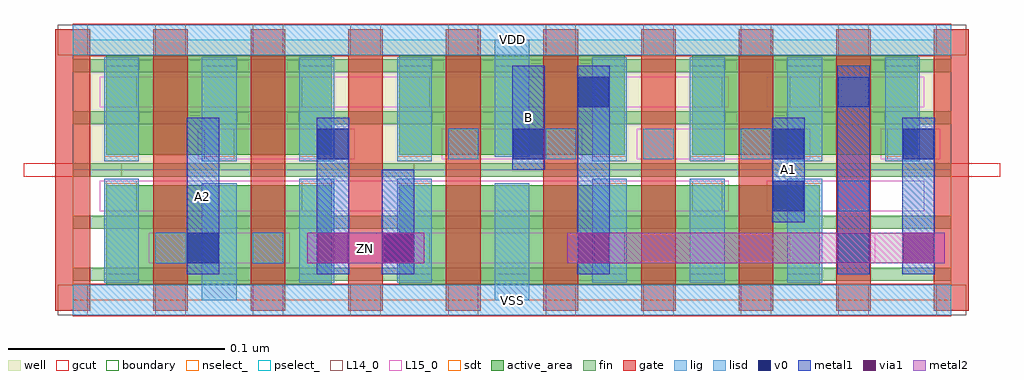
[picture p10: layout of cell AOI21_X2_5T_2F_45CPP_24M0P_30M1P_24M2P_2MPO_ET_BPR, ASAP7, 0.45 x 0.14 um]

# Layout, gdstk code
import gdstk
lib = gdstk.Library(unit=1e-6, precision=2.5e-10)
def R(c, l, rs):  # rectangles x0, y0, x1, y1
    for r in rs: c.add(gdstk.rectangle(r[:2], r[2:], *l))
def A(c, l, x, y, w, h, nx, ny, dx, dy):  # array of equal rectangles
    R(c, l, [(x+i*dx, y+j*dy, x+i*dx+w, y+j*dy+h) for i in range(nx) for j in range(ny)])
well = (1, 0)
fin = (2, 0)
gate = (7, 0)
gcut = (10, 0)
active_area = (11, 0)
nselect_ = (12, 0)
pselect_ = (13, 0)
L14_0 = (14, 0)
L15_0 = (15, 0)
lig = (16, 0)
lisd = (17, 0)
v0 = (18, 0)
metal1 = (19, 0)
metal2 = (20, 0)
via1 = (21, 0)
sdt = (88, 0)
boundary = (100, 0)

aoi21_x2_5t_2f_45cpp_24m = lib.new_cell('AOI21_X2_5T_2F_45CPP_24M0P_30M1P_24M2P_2MPO_ET_BPR')
R(aoi21_x2_5t_2f_45cpp_24m, well, [(0,0.06,0.405,0.12)])
A(aoi21_x2_5t_2f_45cpp_24m, fin, 0, 0.009, 0.405, 0.006, 1, 5, 0, 0.024)
A(aoi21_x2_5t_2f_45cpp_24m, gate, -0.008, -0.005, 0.016, 0.13, 10, 1, 0.045, 0)
R(aoi21_x2_5t_2f_45cpp_24m, gcut, [(0,-0.0075,0.405,0.0075), (-0.0225,0.057,0.0225,0.063), (0.1125,0.057,0.1575,0.063), (0.3825,0.057,0.4275,0.063), (0,0.1125,0.405,0.1275)])
A(aoi21_x2_5t_2f_45cpp_24m, active_area, 0.0155, 0.067, 0.104, 0.046, 3, 1, 0.135, 0)
R(aoi21_x2_5t_2f_45cpp_24m, active_area, [(0.0155,0.007,0.1195,0.053), (0.1505,0.007,0.2545,0.053), (0.2405,0.007,0.3445,0.053)])
R(aoi21_x2_5t_2f_45cpp_24m, nselect_, [(0,0,0.405,0.06)])
R(aoi21_x2_5t_2f_45cpp_24m, pselect_, [(0,0.06,0.405,0.12)])
A(aoi21_x2_5t_2f_45cpp_24m, L14_0, -0.007, -0.007, 0.014, 0.014, 10, 2, 0.045, 0.12)
A(aoi21_x2_5t_2f_45cpp_24m, L14_0, 0.1505, 0.017, 0.014, 0.014, 3, 1, 0.09, 0)
A(aoi21_x2_5t_2f_45cpp_24m, L14_0, 0.173, 0.065, 0.014, 0.014, 4, 1, 0.045, 0)
A(aoi21_x2_5t_2f_45cpp_24m, L14_0, 0.2405, 0.089, 0.014, 0.014, 3, 1, 0.045, 0)
R(aoi21_x2_5t_2f_45cpp_24m, L14_0, [(0.038,0.017,0.052,0.031), (0.083,0.017,0.097,0.031), (0.0155,0.041,0.0295,0.055), (0.1055,0.041,0.1195,0.055), (0.2855,0.041,0.2995,0.055), (0.353,0.041,0.367,0.055), (0.0605,0.065,0.0745,0.079), (0.3755,0.065,0.3895,0.079), (0.0155,0.089,0.0295,0.103), (0.1055,0.089,0.1195,0.103), (0.1505,0.089,0.1645,0.103)])
R(aoi21_x2_5t_2f_45cpp_24m, L15_0, [(0,-0.007,0.405,0.007), (0.035,0.017,0.1,0.031), (0.14,0.017,0.37,0.031), (0.0125,0.041,0.3025,0.055), (0.32,0.041,0.3925,0.055), (0.0575,0.065,0.13,0.079), (0.17,0.065,0.235,0.079), (0.26,0.065,0.34,0.079), (0.3725,0.065,0.4,0.079), (0.0125,0.089,0.3025,0.103), (0.32,0.089,0.3925,0.103), (0,0.113,0.405,0.127)])
A(aoi21_x2_5t_2f_45cpp_24m, lig, 0.173, 0.065, 0.014, 0.014, 4, 1, 0.045, 0)
R(aoi21_x2_5t_2f_45cpp_24m, lig, [(0,-0.007,0.405,0.007), (0.038,0.017,0.052,0.031), (0.083,0.017,0.097,0.031), (0.353,0.041,0.367,0.055), (0,0.113,0.405,0.127)])
A(aoi21_x2_5t_2f_45cpp_24m, lisd, 0.2395, 0.008, 0.016, 0.048, 3, 1, 0.045, 0)
A(aoi21_x2_5t_2f_45cpp_24m, lisd, 0.0145, 0.064, 0.016, 0.048, 4, 1, 0.045, 0)
A(aoi21_x2_5t_2f_45cpp_24m, lisd, 0.2395, 0.064, 0.016, 0.048, 4, 1, 0.045, 0)
R(aoi21_x2_5t_2f_45cpp_24m, lisd, [(0.0595,0,0.0755,0.054), (0.1945,0,0.2105,0.054), (0.0145,0.008,0.0305,0.056), (0.1045,0.008,0.1205,0.056), (0.1495,0.008,0.1655,0.056), (0.1945,0.066,0.2105,0.12)])
R(aoi21_x2_5t_2f_45cpp_24m, v0, [(0.053,0.017,0.067,0.031), (0.143,0.017,0.157,0.031), (0.353,0.017,0.367,0.031), (0.323,0.041,0.337,0.055), (0.113,0.065,0.127,0.079), (0.203,0.065,0.217,0.079), (0.323,0.065,0.337,0.079), (0.383,0.065,0.397,0.079), (0.233,0.089,0.247,0.103), (0.353,0.089,0.367,0.103)])
R(aoi21_x2_5t_2f_45cpp_24m, metal1, [(0.0525,0.012,0.0675,0.084), (0.1125,0.012,0.1275,0.084), (0.1425,0.012,0.1575,0.06), (0.2325,0.012,0.2475,0.108), (0.3525,0.012,0.3675,0.108), (0.3825,0.012,0.3975,0.084), (0.3225,0.036,0.3375,0.084), (0.2025,0.06,0.2175,0.108)])
R(aoi21_x2_5t_2f_45cpp_24m, metal2, [(0.108,0.017,0.162,0.031), (0.228,0.017,0.402,0.031)])
R(aoi21_x2_5t_2f_45cpp_24m, via1, [(0.113,0.017,0.127,0.031), (0.143,0.017,0.157,0.031), (0.233,0.017,0.247,0.031), (0.383,0.017,0.397,0.031)])
A(aoi21_x2_5t_2f_45cpp_24m, sdt, 0.0145, 0.012, 0.016, 0.042, 8, 1, 0.045, 0)
A(aoi21_x2_5t_2f_45cpp_24m, sdt, 0.0145, 0.066, 0.016, 0.042, 9, 1, 0.045, 0)
R(aoi21_x2_5t_2f_45cpp_24m, boundary, [(0,0,0.405,0.12)])
aoi21_x2_5t_2f_45cpp_24m.add(gdstk.Label('A1', (0.33,0.06), layer=19, texttype=251))
aoi21_x2_5t_2f_45cpp_24m.add(gdstk.Label('A2', (0.06,0.048), layer=19, texttype=251))
aoi21_x2_5t_2f_45cpp_24m.add(gdstk.Label('ZN', (0.135,0.024), layer=20, texttype=251))
aoi21_x2_5t_2f_45cpp_24m.add(gdstk.Label('B', (0.21,0.084), layer=19, texttype=251))
aoi21_x2_5t_2f_45cpp_24m.add(gdstk.Label('VDD', (0.2025,0.12), layer=15, texttype=251))
aoi21_x2_5t_2f_45cpp_24m.add(gdstk.Label('VSS', (0.2025,0), layer=15, texttype=251))
aoi21_x2_5t_2f_45cpp_24m.add(gdstk.Label('VDD', (0.2025,0.12), layer=1, texttype=251))
aoi21_x2_5t_2f_45cpp_24m.add(gdstk.Label('VSS', (0.2025,0), layer=3, texttype=251))

lib.write_gds('AOI21_X2_5T_2F_45CPP_24M0P_30M1P_24M2P_2MPO_ET_BPR.gds')
